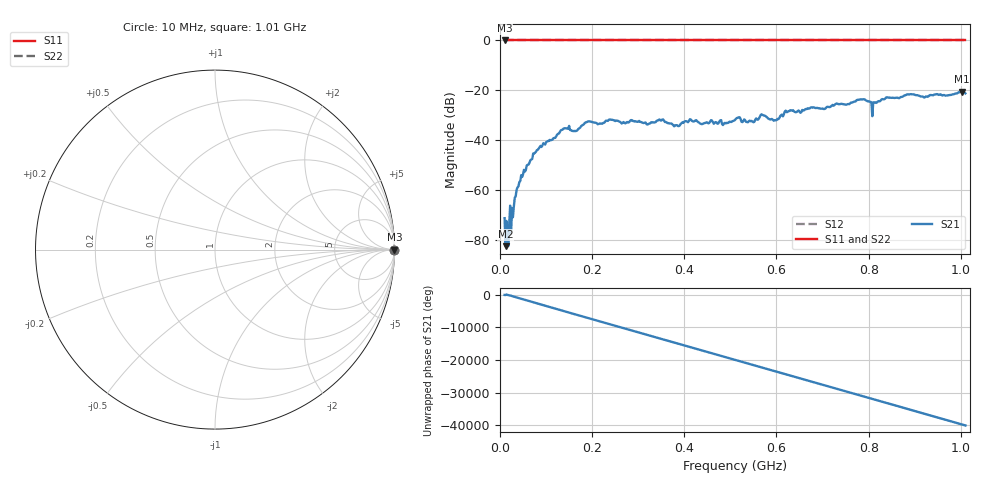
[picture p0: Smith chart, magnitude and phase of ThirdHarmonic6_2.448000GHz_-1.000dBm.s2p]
! 8/17/2025 4:21:23 AM
! C:\ANRITSUVNA\TEMP\TEMP.S2P
! CHANNEL.1
! TR.MEASUREMENT
! RAW.DATA
! RF.CORRECTION.OFF
! AVERAGING.OFF
! IF.BANDWIDTH: 5KHZ
! SWEEPTYPE:  FREQ.SWEEP(Linear)
! Reference Plane Port Info
! PORT:  PORT1  PORT2
! DISTANCE:  0  m  0  m
! TIME:  0  s  0  s
! PHASE.OFFSET:  0  deg.  0  deg.
! LOSS:  0  dB  0  dB
! REF.LOSS:  0  dB  0  dB
! REF.FREQ:  0  Hz  0  Hz
! Power Info
! POWER:  -20  dBm  -20  dBm
! EFF.POWER:  -20  dBm  -20  dBm
! SOURCE.ATTEN:  0  dB  0  dB
! TEST.ATTEN:  0  dB  0  dB
# GHZ S RI R 50.0
! FREQ.GHZ  S11RE  S11IM  S21RE  S21IM  S12RE  S12IM  S22RE  S22IM
!; PortSelection: Port_12
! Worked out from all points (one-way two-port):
!   501 points, 10 MHz to 1.01 GHz, reference 50 ohm
!   highest |S21| = -20.51 dB at 1.002 GHz (marker M1); lowest = -82.5 dB at 12 MHz (marker M2)
!   lowest |S11| = 0.0 dB at 10 MHz (marker M3)
!   |S11| at or under -10 dB: nowhere
!   |S22| runs from 0.0 to 0.0 dB; largest |S21 - S12| = 1.1
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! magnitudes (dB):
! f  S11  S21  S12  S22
! 10 MHz  0.0  -71.3  0.0  0.0
! 12 MHz  0.0  -82.5  0.0  0.0
! 16 MHz  0.0  -78.2  0.0  0.0
! 18 MHz  0.0  -82.5  0.0  0.0
! 20 MHz  0.0  -73.8  0.0  0.0
! 42 MHz  0.0  -56.8  0.0  0.0
! 76 MHz  0.0  -45.1  0.0  0.0
! 136 MHz  0.0  -35.7  0.0  0.0
! 178 MHz  0.0  -34.1  0.0  0.0
! 344 MHz  0.0  -32.0  0.0  0.0
! 382 MHz  0.0  -34.0  0.0  0.0
! 510 MHz  0.0  -31.9  0.0  0.0
! 548 MHz  0.0  -32.5  0.0  0.0
! 570 MHz  0.0  -29.9  0.0  0.0
! 596 MHz  0.0  -32.0  0.0  0.0
! 622 MHz  0.0  -28.7  0.0  0.0
! 678 MHz  0.0  -26.9  0.0  0.0
! 786 MHz  0.0  -23.7  0.0  0.0
! 812 MHz  0.0  -24.8  0.0  0.0
! 844 MHz  0.0  -23.0  0.0  0.0
! 1.002 GHz  0.0  -20.5  0.0  0.0
! 1.01 GHz  0.0  -21.2  0.0  0.0
